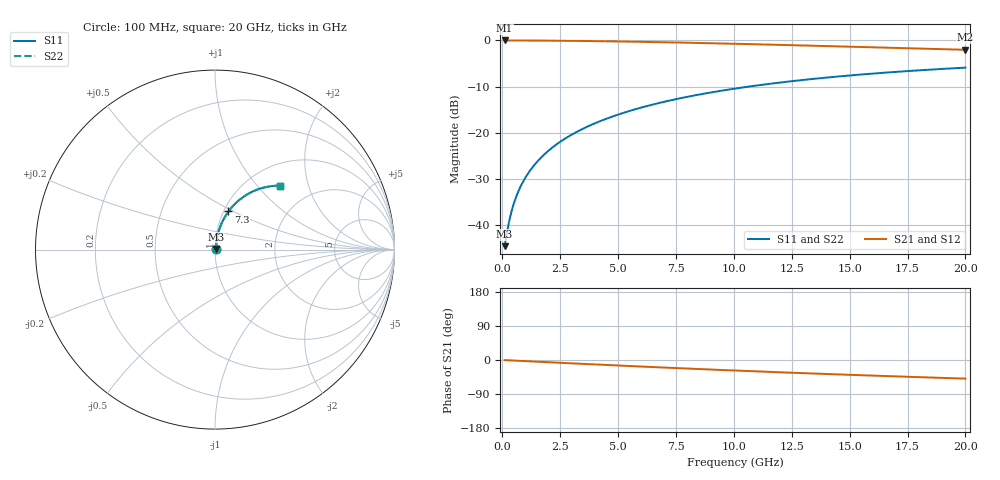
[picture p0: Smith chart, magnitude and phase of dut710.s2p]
! Touchstone file exported from HFSS 2024.1.0
!  File:  C:/UserFiles/LocalFiles/RDL_TSV_Batchsim/temp_RDL_bottom_710_1779857989.aedt
!  Generated:  01:02:23 PM May 27, 2026
!  Design:  RDL_bottom
!  Project:  temp_RDL_bottom_710_1779857989
!  Setup:  Setup1
!  Solution:  Sweep
! Variables:
!  dtsv = 10.80580581um
!  hbump = 3um
!  htsv = 97.91um
!  ldown = 675.56um
!  lrdl = 100um
!  p = 40
!  p1 = 46.63um
!  rhole = 1um
!  t = 450um
!  tdown = 3.85um
!  trdl = 3.915915916um
!  wdown = 12.7um
!  wrdl = 20um
# GHz S MA R 50.000000
! Terminal data exported
! Port[1] = RDL1_T1
! Port[2] = RDL1_T2
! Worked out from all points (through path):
!   200 points, 100 MHz to 20 GHz, reference 50 ohm
!   highest |S21| = -0.04 dB at 100 MHz (marker M1); lowest = -2.1 dB at 20 GHz (marker M2)
!   group delay of S21, straight-line fit = 6.82 ps
!   lowest |S11| = -44.5 dB at 100 MHz (marker M3), VSWR 1.01, Z = 50.5 + j0.336 ohm
!   |S11| at or under -10 dB: start of sweep to 10.66 GHz
!   |S22| runs from -44.5 to -5.9 dB; largest |S21 - S12| = 3.1e-15
!   S11 on the Smith chart (normalised r, x): 100 MHz: 1.01, +0.01; 7.3 GHz: 1.05, +0.47; 20 GHz: 1.39, +1.33
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0.1  0.005962 34.0  0.9951 -0.3  0.9951 -0.3  0.005962 34.0
! Gamma 0 0 0 0
! Port Impedance 50 0 50 0
0.2  0.008345 52.7  0.995 -0.6  0.995 -0.6  0.008345 52.7
0.3  0.0112 62.2  0.9948 -0.9  0.9948 -0.9  0.0112 62.2
0.4  0.01422 67.6  0.9946 -1.2  0.9946 -1.2  0.01421 67.5
0.5  0.01729 70.9  0.9944 -1.5  0.9944 -1.5  0.01729 70.9
0.6  0.02038 73.2  0.9942 -1.8  0.9942 -1.8  0.02038 73.2
0.8  0.02661 76.0  0.9938 -2.4  0.9938 -2.4  0.02661 76.0
1.1  0.03599 78.2  0.9932 -3.3  0.9932 -3.3  0.03599 78.2
1.5  0.04855 79.5  0.9921 -4.5  0.9921 -4.5  0.04855 79.5
1.8  0.05799 79.8  0.9911 -5.3  0.9911 -5.3  0.05799 79.8
2.1  0.06743 79.8  0.9899 -6.2  0.9899 -6.2  0.06743 79.8
2.7  0.08627 79.4  0.9871 -8.0  0.9871 -8.0  0.08627 79.4
3.5  0.1112 78.3  0.9824 -10.3  0.9824 -10.3  0.1113 78.3
4.2  0.1329 77.0  0.9775 -12.3  0.9775 -12.3  0.1329 77.0
5  0.1573 75.5  0.971 -14.5  0.971 -14.5  0.1573 75.5
6.8  0.2108 71.6  0.9538 -19.4  0.9538 -19.4  0.2108 71.7
7.3  0.2252 70.6  0.9485 -20.8  0.9485 -20.8  0.2253 70.6
8.6  0.2617 67.7  0.9338 -24.1  0.9338 -24.1  0.2618 67.7
10.1  0.3019 64.4  0.9157 -27.9  0.9157 -27.9  0.3019 64.4
13.4  0.3819 57.4  0.8733 -35.6  0.8733 -35.6  0.382 57.4
16.7  0.4499 50.8  0.8303 -42.7  0.8303 -42.7  0.4501 50.8
20  0.5061 44.7  0.7889 -49.1  0.7889 -49.1  0.5063 44.8
